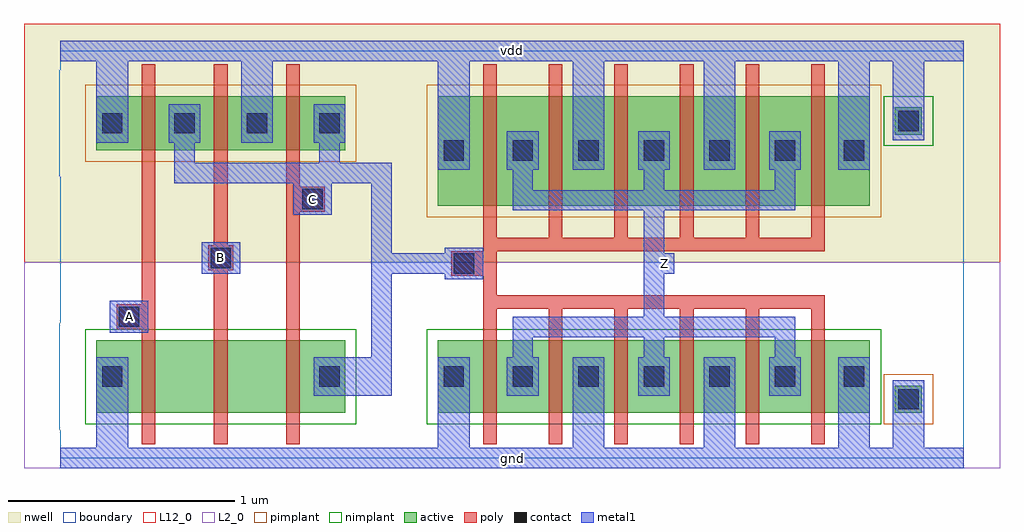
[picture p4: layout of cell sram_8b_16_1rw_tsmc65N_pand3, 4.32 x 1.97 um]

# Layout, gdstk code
import gdstk
lib = gdstk.Library(unit=1e-6, precision=1e-09)
def R(c, l, rs):  # rectangles x0, y0, x1, y1
    for r in rs: c.add(gdstk.rectangle(r[:2], r[2:], *l))
def A(c, l, x, y, w, h, nx, ny, dx, dy):  # array of equal rectangles
    R(c, l, [(x+i*dx, y+j*dy, x+i*dx+w, y+j*dy+h) for i in range(nx) for j in range(ny)])
L2_0 = (2, 0)
nwell = (3, 0)
active = (6, 0)
L12_0 = (12, 0)
poly = (17, 0)
pimplant = (25, 0)
nimplant = (26, 0)
contact = (30, 0)
metal1 = (31, 0)
boundary = (108, 0)

sram_8b_16_1rw_tsmc65n_c = lib.new_cell('sram_8b_16_1rw_tsmc65N_contact_11')
R(sram_8b_16_1rw_tsmc65n_c, nwell, [(-0.165,-0.15,0.305,0.32)])
R(sram_8b_16_1rw_tsmc65n_c, active, [(0.01,0.025,0.13,0.145)])
R(sram_8b_16_1rw_tsmc65n_c, pimplant, [(-0.04,-0.025,0.18,0.195)])
R(sram_8b_16_1rw_tsmc65n_c, contact, [(0.025,0.04,0.115,0.13)])
R(sram_8b_16_1rw_tsmc65n_c, metal1, [(0,0,0.14,0.17)])
R(sram_8b_16_1rw_tsmc65n_c, boundary, [(-0.165,-0.15,0.305,0.32)])

sram_8b_16_1rw_tsmc65n_p = lib.new_cell('sram_8b_16_1rw_tsmc65N_pmos_m1_w0_242_sm1_dm1')
R(sram_8b_16_1rw_tsmc65n_p, nwell, [(-0.16,-0.16,0.62,0.4)])
R(sram_8b_16_1rw_tsmc65n_p, active, [(0,0,0.46,0.24)])
R(sram_8b_16_1rw_tsmc65n_p, L12_0, [(-0.16,-0.16,0.62,0.4)])
R(sram_8b_16_1rw_tsmc65n_p, poly, [(0.2,-0.14,0.26,0.38), (0.2,-0.14,0.26,0.38)])
R(sram_8b_16_1rw_tsmc65n_p, pimplant, [(-0.05,-0.05,0.51,0.29)])
R(sram_8b_16_1rw_tsmc65n_p, metal1, [(0,0.035,0.14,0.205), (0.32,0.035,0.46,0.205)])
R(sram_8b_16_1rw_tsmc65n_p, boundary, [(-0.16,-0.16,0.62,0.4)])
sram_8b_16_1rw_tsmc65n_p.add(gdstk.Reference(sram_8b_16_1rw_tsmc65n_c, (0,0.035)))
sram_8b_16_1rw_tsmc65n_p.add(gdstk.Reference(sram_8b_16_1rw_tsmc65n_c, (0.32,0.035)))
sram_8b_16_1rw_tsmc65n_p.add(gdstk.Label('G', (0.23,0.12), layer=17, texttype=0))
sram_8b_16_1rw_tsmc65n_p.add(gdstk.Label('S', (0.07,0.12), layer=31, texttype=0))
sram_8b_16_1rw_tsmc65n_p.add(gdstk.Label('D', (0.39,0.12), layer=31, texttype=0))

c_sram_8b_16_1rw_tsmc65n_c = lib.new_cell('sram_8b_16_1rw_tsmc65N_contact_10')
R(c_sram_8b_16_1rw_tsmc65n_c, L2_0, [(-0.165,-0.15,0.305,0.32)])
R(c_sram_8b_16_1rw_tsmc65n_c, active, [(0.01,0.025,0.13,0.145)])
R(c_sram_8b_16_1rw_tsmc65n_c, nimplant, [(-0.04,-0.025,0.18,0.195)])
R(c_sram_8b_16_1rw_tsmc65n_c, contact, [(0.025,0.04,0.115,0.13)])
R(c_sram_8b_16_1rw_tsmc65n_c, metal1, [(0,0,0.14,0.17)])
R(c_sram_8b_16_1rw_tsmc65n_c, boundary, [(-0.165,-0.15,0.305,0.32)])

sram_8b_16_1rw_tsmc65n_n = lib.new_cell('sram_8b_16_1rw_tsmc65N_nmos_m1_w0_320_sm1_dactive')
R(sram_8b_16_1rw_tsmc65n_n, L2_0, [(-0.16,-0.16,0.62,0.48)])
R(sram_8b_16_1rw_tsmc65n_n, active, [(0,0,0.46,0.32), (0.35,0.12,0.43,0.2)])
R(sram_8b_16_1rw_tsmc65n_n, L12_0, [(-0.16,-0.16,0.62,0.48)])
R(sram_8b_16_1rw_tsmc65n_n, poly, [(0.2,-0.14,0.26,0.46), (0.2,-0.14,0.26,0.46)])
R(sram_8b_16_1rw_tsmc65n_n, nimplant, [(-0.05,-0.05,0.51,0.37)])
R(sram_8b_16_1rw_tsmc65n_n, metal1, [(0,0.075,0.14,0.245)])
R(sram_8b_16_1rw_tsmc65n_n, boundary, [(-0.16,-0.16,0.62,0.48)])
sram_8b_16_1rw_tsmc65n_n.add(gdstk.Reference(c_sram_8b_16_1rw_tsmc65n_c, (0,0.075)))
sram_8b_16_1rw_tsmc65n_n.add(gdstk.Label('G', (0.23,0.16), layer=17, texttype=0))
sram_8b_16_1rw_tsmc65n_n.add(gdstk.Label('S', (0.07,0.16), layer=31, texttype=0))
sram_8b_16_1rw_tsmc65n_n.add(gdstk.Label('D', (0.39,0.16), layer=6, texttype=0))

c_sram_8b_16_1rw_tsmc65n_n = lib.new_cell('sram_8b_16_1rw_tsmc65N_nmos_m1_w0_320_sactive_dactive')
R(c_sram_8b_16_1rw_tsmc65n_n, L2_0, [(-0.16,-0.16,0.62,0.48)])
R(c_sram_8b_16_1rw_tsmc65n_n, active, [(0,0,0.46,0.32), (0.03,0.12,0.11,0.2), (0.35,0.12,0.43,0.2)])
R(c_sram_8b_16_1rw_tsmc65n_n, L12_0, [(-0.16,-0.16,0.62,0.48)])
R(c_sram_8b_16_1rw_tsmc65n_n, poly, [(0.2,-0.14,0.26,0.46), (0.2,-0.14,0.26,0.46)])
R(c_sram_8b_16_1rw_tsmc65n_n, nimplant, [(-0.05,-0.05,0.51,0.37)])
R(c_sram_8b_16_1rw_tsmc65n_n, boundary, [(-0.16,-0.16,0.62,0.48)])
c_sram_8b_16_1rw_tsmc65n_n.add(gdstk.Label('G', (0.23,0.16), layer=17, texttype=0))
c_sram_8b_16_1rw_tsmc65n_n.add(gdstk.Label('S', (0.07,0.16), layer=6, texttype=0))
c_sram_8b_16_1rw_tsmc65n_n.add(gdstk.Label('D', (0.39,0.16), layer=6, texttype=0))

c_sram_8b_16_1rw_tsmc65n_n_ = lib.new_cell('sram_8b_16_1rw_tsmc65N_nmos_m1_w0_320_sactive_dm1')
R(c_sram_8b_16_1rw_tsmc65n_n_, L2_0, [(-0.16,-0.16,0.62,0.48)])
R(c_sram_8b_16_1rw_tsmc65n_n_, active, [(0,0,0.46,0.32), (0.03,0.12,0.11,0.2)])
R(c_sram_8b_16_1rw_tsmc65n_n_, L12_0, [(-0.16,-0.16,0.62,0.48)])
R(c_sram_8b_16_1rw_tsmc65n_n_, poly, [(0.2,-0.14,0.26,0.46), (0.2,-0.14,0.26,0.46)])
R(c_sram_8b_16_1rw_tsmc65n_n_, nimplant, [(-0.05,-0.05,0.51,0.37)])
R(c_sram_8b_16_1rw_tsmc65n_n_, metal1, [(0.32,0.075,0.46,0.245)])
R(c_sram_8b_16_1rw_tsmc65n_n_, boundary, [(-0.16,-0.16,0.62,0.48)])
c_sram_8b_16_1rw_tsmc65n_n_.add(gdstk.Reference(c_sram_8b_16_1rw_tsmc65n_c, (0.32,0.075)))
c_sram_8b_16_1rw_tsmc65n_n_.add(gdstk.Label('G', (0.23,0.16), layer=17, texttype=0))
c_sram_8b_16_1rw_tsmc65n_n_.add(gdstk.Label('S', (0.07,0.16), layer=6, texttype=0))
c_sram_8b_16_1rw_tsmc65n_n_.add(gdstk.Label('D', (0.39,0.16), layer=31, texttype=0))

c_sram_8b_16_1rw_tsmc65n_c_ = lib.new_cell('sram_8b_16_1rw_tsmc65N_contact_14')
R(c_sram_8b_16_1rw_tsmc65n_c_, poly, [(0.03,0.015,0.14,0.125)])
R(c_sram_8b_16_1rw_tsmc65n_c_, contact, [(0.04,0.025,0.13,0.115)])
R(c_sram_8b_16_1rw_tsmc65n_c_, metal1, [(0,0,0.17,0.14)])
R(c_sram_8b_16_1rw_tsmc65n_c_, boundary, [(0,0,0.17,0.14)])

c_sram_8b_16_1rw_tsmc65n_p = lib.new_cell('sram_8b_16_1rw_tsmc65N_pnand3_0')
R(c_sram_8b_16_1rw_tsmc65n_p, L2_0, [(-0.16,-0.045,1.67,0.865)])
R(c_sram_8b_16_1rw_tsmc65n_p, nwell, [(-0.16,0.865,1.67,1.92)])
R(c_sram_8b_16_1rw_tsmc65n_p, L12_0, [(-0.16,-0.045,1.67,0.865), (-0.16,0.865,1.67,1.92)])
A(c_sram_8b_16_1rw_tsmc65n_p, poly, 0.36, 0.66, 0.06, 0.56, 3, 1, 0.32, 0)
R(c_sram_8b_16_1rw_tsmc65n_p, poly, [(0.305,0.57,0.36,0.68), (0.68,0.83,0.71,0.94), (1,1.09,1.115,1.2)])
R(c_sram_8b_16_1rw_tsmc65n_p, metal1, [(0,-0.045,1.51,0.045), (0.16,-0.045,0.3,0.275), (1.19,0.275,1.42,0.445), (1.375,0.275,1.465,1.26), (0.22,0.555,0.39,0.695), (0.625,0.815,0.795,0.955), (1.03,1.075,1.2,1.215), (0.505,1.215,0.595,1.305), (0.55,1.215,1.42,1.305), (1.145,1.215,1.235,1.305), (1.19,1.215,1.42,1.305), (1.375,1.215,1.465,1.305), (0.505,1.26,0.595,1.48), (1.145,1.26,1.235,1.48), (0.16,1.395,0.3,1.845), (0.8,1.395,0.94,1.845), (0,1.755,1.51,1.845)])
R(c_sram_8b_16_1rw_tsmc65n_p, boundary, [(0,0,1.51,1.8), (0,0,1.51,1.8)])
c_sram_8b_16_1rw_tsmc65n_p.add(gdstk.Reference(sram_8b_16_1rw_tsmc65n_p, (0.16,1.36)))
c_sram_8b_16_1rw_tsmc65n_p.add(gdstk.Reference(sram_8b_16_1rw_tsmc65n_p, (0.48,1.36)))
c_sram_8b_16_1rw_tsmc65n_p.add(gdstk.Reference(sram_8b_16_1rw_tsmc65n_p, (0.8,1.36)))
c_sram_8b_16_1rw_tsmc65n_p.add(gdstk.Reference(sram_8b_16_1rw_tsmc65n_n, (0.16,0.2)))
c_sram_8b_16_1rw_tsmc65n_p.add(gdstk.Reference(c_sram_8b_16_1rw_tsmc65n_n, (0.48,0.2)))
c_sram_8b_16_1rw_tsmc65n_p.add(gdstk.Reference(c_sram_8b_16_1rw_tsmc65n_n_, (0.8,0.2)))
c_sram_8b_16_1rw_tsmc65n_p.add(gdstk.Reference(c_sram_8b_16_1rw_tsmc65n_c_, (0.22,0.555)))
c_sram_8b_16_1rw_tsmc65n_p.add(gdstk.Reference(c_sram_8b_16_1rw_tsmc65n_c_, (0.625,0.815)))
c_sram_8b_16_1rw_tsmc65n_p.add(gdstk.Reference(c_sram_8b_16_1rw_tsmc65n_c_, (1.03,1.075)))
c_sram_8b_16_1rw_tsmc65n_p.add(gdstk.Label('A', (0.305,0.625), layer=31, texttype=0))
c_sram_8b_16_1rw_tsmc65n_p.add(gdstk.Label('B', (0.71,0.885), layer=31, texttype=0))
c_sram_8b_16_1rw_tsmc65n_p.add(gdstk.Label('C', (1.115,1.145), layer=31, texttype=0))
c_sram_8b_16_1rw_tsmc65n_p.add(gdstk.Label('Z', (1.42,1.26), layer=31, texttype=0))
c_sram_8b_16_1rw_tsmc65n_p.add(gdstk.Label('gnd', (0.755,0), layer=31, texttype=0))
c_sram_8b_16_1rw_tsmc65n_p.add(gdstk.Label('vdd', (0.755,1.8), layer=31, texttype=0))

c_sram_8b_16_1rw_tsmc65n_p_ = lib.new_cell('sram_8b_16_1rw_tsmc65N_pmos_m6_w0_485_sm1_dm1_da_p')
R(c_sram_8b_16_1rw_tsmc65n_p_, nwell, [(-0.16,-0.16,2.07,0.645)])
R(c_sram_8b_16_1rw_tsmc65n_p_, active, [(0,0,1.91,0.485)])
R(c_sram_8b_16_1rw_tsmc65n_p_, L12_0, [(-0.16,-0.16,2.07,0.645)])
A(c_sram_8b_16_1rw_tsmc65n_p_, poly, 0.2, -0.14, 0.06, 0.765, 6, 1, 0.29, 0)
R(c_sram_8b_16_1rw_tsmc65n_p_, poly, [(0.2,-0.2,1.71,-0.14)])
R(c_sram_8b_16_1rw_tsmc65n_p_, pimplant, [(-0.05,-0.05,1.96,0.535)])
A(c_sram_8b_16_1rw_tsmc65n_p_, metal1, 0.33, 0.02, 0.09, 0.22, 3, 1, 0.58, 0)
R(c_sram_8b_16_1rw_tsmc65n_p_, metal1, [(0.33,-0.02,1.58,0.07), (0,0.16,0.14,0.33), (0.595,0.16,0.735,0.33), (1.175,0.16,1.315,0.33), (1.77,0.16,1.91,0.33)])
R(c_sram_8b_16_1rw_tsmc65n_p_, boundary, [(-0.16,-0.2,2.07,0.645)])
c_sram_8b_16_1rw_tsmc65n_p_.add(gdstk.Reference(sram_8b_16_1rw_tsmc65n_c, (0,0.16)))
c_sram_8b_16_1rw_tsmc65n_p_.add(gdstk.Reference(sram_8b_16_1rw_tsmc65n_c, (0.305,0.16)))
c_sram_8b_16_1rw_tsmc65n_p_.add(gdstk.Reference(sram_8b_16_1rw_tsmc65n_c, (0.595,0.16)))
c_sram_8b_16_1rw_tsmc65n_p_.add(gdstk.Reference(sram_8b_16_1rw_tsmc65n_c, (0.885,0.16)))
c_sram_8b_16_1rw_tsmc65n_p_.add(gdstk.Reference(sram_8b_16_1rw_tsmc65n_c, (1.175,0.16)))
c_sram_8b_16_1rw_tsmc65n_p_.add(gdstk.Reference(sram_8b_16_1rw_tsmc65n_c, (1.465,0.16)))
c_sram_8b_16_1rw_tsmc65n_p_.add(gdstk.Reference(sram_8b_16_1rw_tsmc65n_c, (1.77,0.16)))
c_sram_8b_16_1rw_tsmc65n_p_.add(gdstk.Label('G', (0.955,-0.17), layer=17, texttype=0))
c_sram_8b_16_1rw_tsmc65n_p_.add(gdstk.Label('S', (1.245,0.245), layer=31, texttype=0))
c_sram_8b_16_1rw_tsmc65n_p_.add(gdstk.Label('S', (0.07,0.245), layer=31, texttype=0))
c_sram_8b_16_1rw_tsmc65n_p_.add(gdstk.Label('S', (1.84,0.245), layer=31, texttype=0))
c_sram_8b_16_1rw_tsmc65n_p_.add(gdstk.Label('S', (0.665,0.245), layer=31, texttype=0))
c_sram_8b_16_1rw_tsmc65n_p_.add(gdstk.Label('D', (0.955,0.025), layer=31, texttype=0))

c_sram_8b_16_1rw_tsmc65n_n__ = lib.new_cell('sram_8b_16_1rw_tsmc65N_nmos_m6_w0_320_sm1_dm1_da_p')
R(c_sram_8b_16_1rw_tsmc65n_n__, L2_0, [(-0.16,-0.16,2.07,0.48)])
R(c_sram_8b_16_1rw_tsmc65n_n__, active, [(0,0,1.91,0.32)])
R(c_sram_8b_16_1rw_tsmc65n_n__, L12_0, [(-0.16,-0.16,2.07,0.48)])
A(c_sram_8b_16_1rw_tsmc65n_n__, poly, 0.2, -0.14, 0.06, 0.6, 6, 1, 0.29, 0)
R(c_sram_8b_16_1rw_tsmc65n_n__, poly, [(0.2,0.46,1.71,0.52)])
R(c_sram_8b_16_1rw_tsmc65n_n__, nimplant, [(-0.05,-0.05,1.96,0.37)])
A(c_sram_8b_16_1rw_tsmc65n_n__, metal1, 0.33, 0.16, 0.09, 0.22, 3, 1, 0.58, 0)
R(c_sram_8b_16_1rw_tsmc65n_n__, metal1, [(0,0.075,0.14,0.245), (0.595,0.075,0.735,0.245), (1.175,0.075,1.315,0.245), (1.77,0.075,1.91,0.245), (0.33,0.335,1.58,0.425)])
R(c_sram_8b_16_1rw_tsmc65n_n__, boundary, [(-0.16,-0.16,2.07,0.52)])
c_sram_8b_16_1rw_tsmc65n_n__.add(gdstk.Reference(c_sram_8b_16_1rw_tsmc65n_c, (0,0.075)))
c_sram_8b_16_1rw_tsmc65n_n__.add(gdstk.Reference(c_sram_8b_16_1rw_tsmc65n_c, (0.305,0.075)))
c_sram_8b_16_1rw_tsmc65n_n__.add(gdstk.Reference(c_sram_8b_16_1rw_tsmc65n_c, (0.595,0.075)))
c_sram_8b_16_1rw_tsmc65n_n__.add(gdstk.Reference(c_sram_8b_16_1rw_tsmc65n_c, (0.885,0.075)))
c_sram_8b_16_1rw_tsmc65n_n__.add(gdstk.Reference(c_sram_8b_16_1rw_tsmc65n_c, (1.175,0.075)))
c_sram_8b_16_1rw_tsmc65n_n__.add(gdstk.Reference(c_sram_8b_16_1rw_tsmc65n_c, (1.465,0.075)))
c_sram_8b_16_1rw_tsmc65n_n__.add(gdstk.Reference(c_sram_8b_16_1rw_tsmc65n_c, (1.77,0.075)))
c_sram_8b_16_1rw_tsmc65n_n__.add(gdstk.Label('G', (0.955,0.49), layer=17, texttype=0))
c_sram_8b_16_1rw_tsmc65n_n__.add(gdstk.Label('S', (0.665,0.16), layer=31, texttype=0))
c_sram_8b_16_1rw_tsmc65n_n__.add(gdstk.Label('S', (1.245,0.16), layer=31, texttype=0))
c_sram_8b_16_1rw_tsmc65n_n__.add(gdstk.Label('S', (0.07,0.16), layer=31, texttype=0))
c_sram_8b_16_1rw_tsmc65n_n__.add(gdstk.Label('S', (1.84,0.16), layer=31, texttype=0))
c_sram_8b_16_1rw_tsmc65n_n__.add(gdstk.Label('D', (0.955,0.38), layer=31, texttype=0))

c_sram_8b_16_1rw_tsmc65n_c__ = lib.new_cell('sram_8b_16_1rw_tsmc65N_contact_12')
R(c_sram_8b_16_1rw_tsmc65n_c__, nwell, [(-0.165,-0.15,0.305,0.32)])
R(c_sram_8b_16_1rw_tsmc65n_c__, active, [(0.01,0.025,0.13,0.145)])
R(c_sram_8b_16_1rw_tsmc65n_c__, nimplant, [(-0.04,-0.025,0.18,0.195)])
R(c_sram_8b_16_1rw_tsmc65n_c__, contact, [(0.025,0.04,0.115,0.13)])
R(c_sram_8b_16_1rw_tsmc65n_c__, metal1, [(0,0,0.14,0.17)])
R(c_sram_8b_16_1rw_tsmc65n_c__, boundary, [(-0.165,-0.15,0.305,0.32)])

c_sram_8b_16_1rw_tsmc65n_c___ = lib.new_cell('sram_8b_16_1rw_tsmc65N_contact_13')
R(c_sram_8b_16_1rw_tsmc65n_c___, L2_0, [(-0.165,-0.15,0.305,0.32)])
R(c_sram_8b_16_1rw_tsmc65n_c___, active, [(0.01,0.025,0.13,0.145)])
R(c_sram_8b_16_1rw_tsmc65n_c___, pimplant, [(-0.04,-0.025,0.18,0.195)])
R(c_sram_8b_16_1rw_tsmc65n_c___, contact, [(0.025,0.04,0.115,0.13)])
R(c_sram_8b_16_1rw_tsmc65n_c___, metal1, [(0,0,0.14,0.17)])
R(c_sram_8b_16_1rw_tsmc65n_c___, boundary, [(-0.165,-0.15,0.305,0.32)])

c_sram_8b_16_1rw_tsmc65n_p__ = lib.new_cell('sram_8b_16_1rw_tsmc65N_pinv_2')
R(c_sram_8b_16_1rw_tsmc65n_p__, L2_0, [(-0.16,-0.045,2.645,0.865)])
R(c_sram_8b_16_1rw_tsmc65n_p__, nwell, [(-0.16,0.865,2.645,1.92)])
R(c_sram_8b_16_1rw_tsmc65n_p__, L12_0, [(-0.16,-0.045,2.645,0.865), (-0.16,0.865,2.645,1.92)])
R(c_sram_8b_16_1rw_tsmc65n_p__, poly, [(0.36,0.72,0.42,0.915), (0.275,0.805,0.36,0.915)])
R(c_sram_8b_16_1rw_tsmc65n_p__, metal1, [(0,-0.045,2.485,0.045), (0.16,-0.045,0.3,0.275), (0.755,-0.045,0.895,0.275), (1.335,-0.045,1.475,0.275), (1.93,-0.045,2.07,0.275), (2.17,0,2.31,0.26), (1.07,0.535,1.16,1.185), (0.19,0.79,0.36,0.93), (1.115,0.815,1.205,0.905), (0.16,1.275,0.3,1.845), (0.755,1.275,0.895,1.845), (1.335,1.275,1.475,1.845), (1.93,1.275,2.07,1.845), (2.17,1.49,2.31,1.8), (0,1.755,2.485,1.845)])
R(c_sram_8b_16_1rw_tsmc65n_p__, boundary, [(0,0,2.485,1.8), (0,0,2.485,1.8)])
c_sram_8b_16_1rw_tsmc65n_p__.add(gdstk.Reference(c_sram_8b_16_1rw_tsmc65n_p_, (0.16,1.115)))
c_sram_8b_16_1rw_tsmc65n_p__.add(gdstk.Reference(c_sram_8b_16_1rw_tsmc65n_n__, (0.16,0.2)))
c_sram_8b_16_1rw_tsmc65n_p__.add(gdstk.Reference(c_sram_8b_16_1rw_tsmc65n_c__, (2.17,1.405)))
c_sram_8b_16_1rw_tsmc65n_p__.add(gdstk.Reference(c_sram_8b_16_1rw_tsmc65n_c___, (2.17,0.175)))
c_sram_8b_16_1rw_tsmc65n_p__.add(gdstk.Reference(c_sram_8b_16_1rw_tsmc65n_c_, (0.19,0.79)))
c_sram_8b_16_1rw_tsmc65n_p__.add(gdstk.Label('A', (0.275,0.86), layer=31, texttype=0))
c_sram_8b_16_1rw_tsmc65n_p__.add(gdstk.Label('Z', (1.16,0.86), layer=31, texttype=0))
c_sram_8b_16_1rw_tsmc65n_p__.add(gdstk.Label('gnd', (1.242,0), layer=31, texttype=0))
c_sram_8b_16_1rw_tsmc65n_p__.add(gdstk.Label('vdd', (1.242,1.8), layer=31, texttype=0))

c_sram_8b_16_1rw_tsmc65n_p___ = lib.new_cell('sram_8b_16_1rw_tsmc65N_pdriver')
R(c_sram_8b_16_1rw_tsmc65n_p___, L2_0, [(-0.16,-0.045,2.645,0.865)])
R(c_sram_8b_16_1rw_tsmc65n_p___, nwell, [(-0.16,0.865,2.645,1.92)])
R(c_sram_8b_16_1rw_tsmc65n_p___, L12_0, [(-0.16,-0.045,2.645,0.865), (-0.16,0.865,2.645,1.92)])
R(c_sram_8b_16_1rw_tsmc65n_p___, metal1, [(0,-0.045,2.485,0.045), (0.19,0.79,0.36,0.93), (1.115,0.815,1.205,0.905), (0,1.755,2.485,1.845)])
R(c_sram_8b_16_1rw_tsmc65n_p___, boundary, [(0,0,2.485,1.8), (0,0,2.485,1.8)])
c_sram_8b_16_1rw_tsmc65n_p___.add(gdstk.Reference(c_sram_8b_16_1rw_tsmc65n_p__, (0,0)))
c_sram_8b_16_1rw_tsmc65n_p___.add(gdstk.Label('Z', (1.16,0.86), layer=31, texttype=0))
c_sram_8b_16_1rw_tsmc65n_p___.add(gdstk.Label('A', (0.275,0.86), layer=31, texttype=0))
c_sram_8b_16_1rw_tsmc65n_p___.add(gdstk.Label('gnd', (1.242,0), layer=31, texttype=0))
c_sram_8b_16_1rw_tsmc65n_p___.add(gdstk.Label('vdd', (1.242,1.8), layer=31, texttype=0))

c_sram_8b_16_1rw_tsmc65n_p____ = lib.new_cell('sram_8b_16_1rw_tsmc65N_pand3')
R(c_sram_8b_16_1rw_tsmc65n_p____, metal1, [(0,-0.045,3.995,0.045), (0.22,0.555,0.39,0.695), (0.625,0.815,0.795,0.955), (1.375,0.815,1.465,0.905), (1.42,0.815,1.785,0.905), (2.625,0.815,2.715,0.905), (1.375,0.86,1.465,1.26), (1.03,1.075,1.2,1.215), (0,1.755,3.995,1.845)])
R(c_sram_8b_16_1rw_tsmc65n_p____, boundary, [(0,0,3.995,1.8), (0,0,3.995,1.8)])
c_sram_8b_16_1rw_tsmc65n_p____.add(gdstk.Reference(c_sram_8b_16_1rw_tsmc65n_p, (0,0)))
c_sram_8b_16_1rw_tsmc65n_p____.add(gdstk.Reference(c_sram_8b_16_1rw_tsmc65n_p___, (1.51,0)))
c_sram_8b_16_1rw_tsmc65n_p____.add(gdstk.Label('Z', (2.67,0.86), layer=31, texttype=0))
c_sram_8b_16_1rw_tsmc65n_p____.add(gdstk.Label('A', (0.305,0.625), layer=31, texttype=0))
c_sram_8b_16_1rw_tsmc65n_p____.add(gdstk.Label('B', (0.71,0.885), layer=31, texttype=0))
c_sram_8b_16_1rw_tsmc65n_p____.add(gdstk.Label('C', (1.115,1.145), layer=31, texttype=0))
c_sram_8b_16_1rw_tsmc65n_p____.add(gdstk.Label('gnd', (1.998,0), layer=31, texttype=0))
c_sram_8b_16_1rw_tsmc65n_p____.add(gdstk.Label('vdd', (1.998,1.8), layer=31, texttype=0))

lib.write_gds('sram_8b_16_1rw_tsmc65N_pand3.gds')
